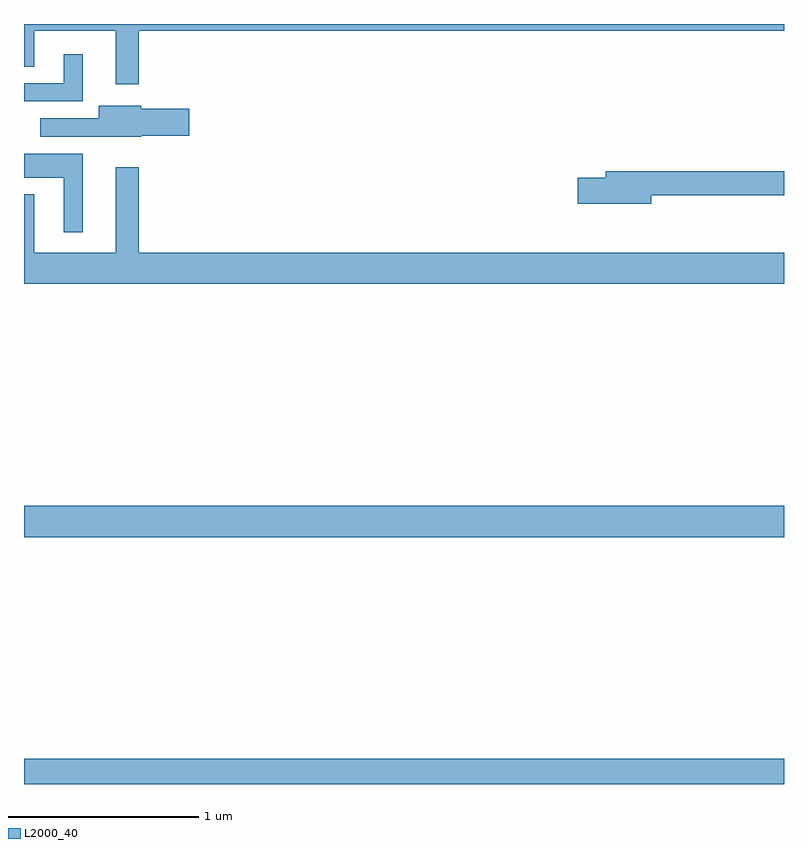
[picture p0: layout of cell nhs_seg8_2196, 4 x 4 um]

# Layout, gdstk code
import gdstk
lib = gdstk.Library(unit=1e-6, precision=1e-09)
def R(c, l, rs):  # rectangles x0, y0, x1, y1
    for r in rs: c.add(gdstk.rectangle(r[:2], r[2:], *l))
def P(c, l, *ps):  # polygons
    for p in ps: c.add(gdstk.Polygon(p, *l))
L2000_40 = (2000, 40)

nhs_seg8_2196 = lib.new_cell('nhs_seg8_2196')
R(nhs_seg8_2196, L2000_40, [(251,1081.9,255,1082.032), (251,1083.2,255,1083.364)])
P(nhs_seg8_2196, L2000_40, [(251.605,1085.864),(255,1085.864),(255,1085.9),(251,1085.9),(251,1085.674),(251.053,1085.674),(251.053,1085.864),(251.483,1085.864),(251.483,1085.583),(251.605,1085.583)],
  [(251.308,1085.74),(251.21,1085.74),(251.21,1085.589),(251,1085.589),(251,1085.493),(251.308,1085.493)],
  [(251.616,1085.312),(251.869,1085.312),(251.869,1085.454),(251.616,1085.454),(251.616,1085.47),(251.393,1085.47),(251.393,1085.403),(251.085,1085.403),(251.085,1085.307),(251.397,1085.307),(251.397,1085.306),(251.616,1085.306)],
  [(251.308,1085.218),(251,1085.218),(251,1085.09),(251.21,1085.09),(251.21,1084.803),(251.308,1084.803)],
  [(255,1084.696),(251.605,1084.696),(251.605,1085.146),(251.483,1085.146),(251.483,1084.696),(251.053,1084.696),(251.053,1085.005),(251,1085.005),(251,1084.532),(255,1084.532)],
  [(254.302,1084.998),(255,1084.998),(255,1085.126),(254.063,1085.126),(254.063,1085.09),(253.914,1085.09),(253.914,1084.955),(254.302,1084.955)])

lib.write_gds('nhs_seg8_2196.gds')
